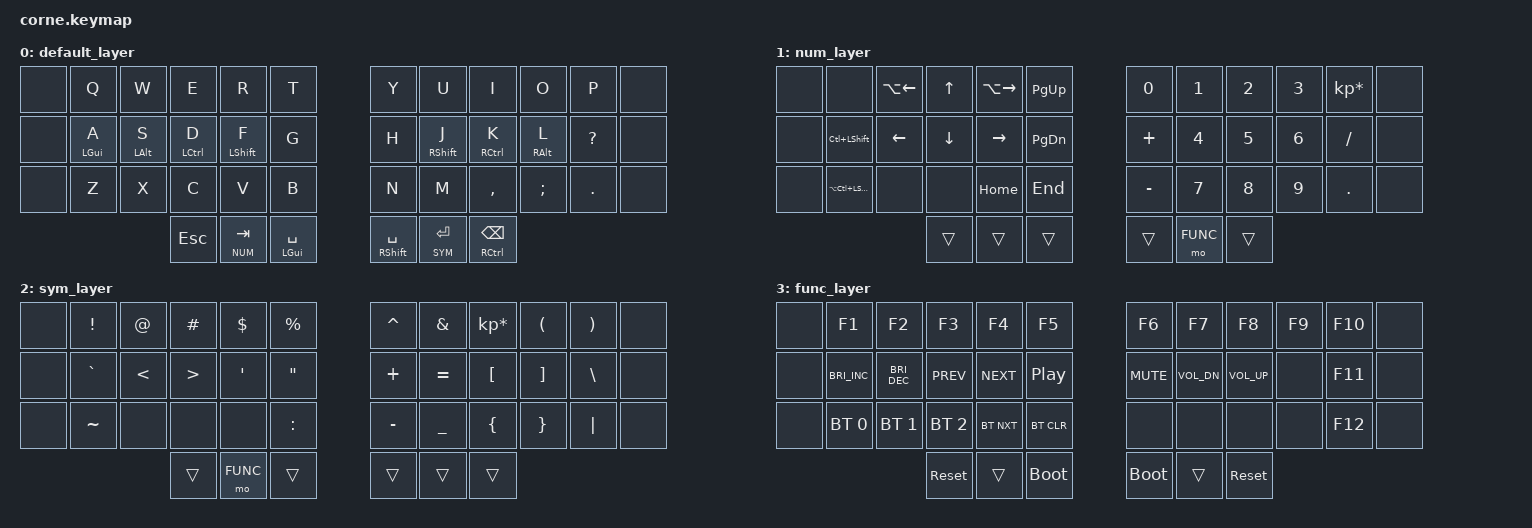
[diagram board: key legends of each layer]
/*
 * Copyright (c) 2020 The ZMK Contributors
 *
 * SPDX-License-Identifier: MIT
 */

#include <behaviors.dtsi>
#include <dt-bindings/zmk/bt.h>
#include <dt-bindings/zmk/keys.h>

// LAYERS

#define DEFAULT 0
#define NUM     1
#define SYM     2
#define FUNC    3

// MACROS

#define SUPER LC(LSHIFT)
#define SUPER2 LA(LC(LSHIFT))

&mt {
    tapping-term-ms = <200>;
    flavor = "tap-preferred";
};

/ {
    behaviors {
        hm: homerow_mods {
            compatible = "zmk,behavior-hold-tap";
            label = "HOMEROW_MODS";
            #binding-cells = <2>;
            tapping-term-ms = <200>;
            quick-tap-ms = <0>;
            flavor = "tap-preferred";
            bindings = <&kp>, <&kp>;
        };
        td0: tap_dance_0 {
            compatible = "zmk,behavior-tap-dance";
            label = "TAP_DANCE_0";
            #binding-cells = <0>;
            tapping-term-ms = <200>;
            bindings = <&hm RGUI SEMI>, <&kp SQT>;
        };
        td1: tap_dance_1 {
            compatible = "zmk,behavior-tap-dance";
            label = "TAP_DANCE_1";
            #binding-cells = <0>;
            tapping-term-ms = <200>;
            bindings = <&mt LCTRL TAB>, <&kp ESC>;
        };
    };

    combos {
        compatible = "zmk,combos";

        combo_cword {
            timeout-ms = <50>;
            key-positions = <16 19>;
            bindings = <&caps_word>;
        };

        combo_vimwq {
            timeout-ms = <50>;
            key-positions = <1 2>;
            bindings = <&vim_quit>;
        };
    };

    macros {
        vim_quit: vim_quit {
            label = "ZM_vim_quit";
            compatible = "zmk,behavior-macro";
            #binding-cells = <0>;
            bindings = <&macro_tap>, <&kp ESC &kp COLON &kp W &kp Q>;
        };
    };

    keymap {
        compatible = "zmk,keymap";

        default_layer {
            bindings = <
&none  &kp Q       &kp W       &kp E        &kp R         &kp T             &kp Y                  &kp U         &kp I                        &kp O       &kp P      &none
&none  &hm LGUI A  &hm LALT S  &hm LCTRL D  &hm LSHIFT F  &kp G             &kp H                  &hm RSHIFT J  &hm RCTRL K                  &hm RALT L  &kp QMARK  &none
&none  &kp Z       &kp X       &kp C        &kp V         &kp B             &kp N                  &kp M         &kp COMMA                    &kp SEMI    &kp DOT    &none
                               &kp ESCAPE   &lt NUM TAB   &mt LGUI SPACE    &mt RIGHT_SHIFT SPACE  &lt SYM RET   &mt RIGHT_CONTROL BACKSPACE
            >;
        };

        num_layer {
            bindings = <
&none  &none       &kp LA(LEFT)  &kp UP    &kp LA(RIGHT)  &kp PG_UP    &kp N0     &kp N1    &kp N2  &kp N3  &kp KP_MULTIPLY  &none
&none  &kp SUPER   &kp LEFT      &kp DOWN  &kp RIGHT      &kp PG_DN    &kp PLUS   &kp N4    &kp N5  &kp N6  &kp SLASH        &none
&none  &kp SUPER2  &none         &none     &kp HOME       &kp END      &kp MINUS  &kp N7    &kp N8  &kp N9  &kp DOT          &none
                                 &trans    &trans         &trans       &trans     &mo FUNC  &trans
            >;
        };

        sym_layer {
            bindings = <
&none  &kp EXCL   &kp AT         &kp HASH          &kp DLLR  &kp PRCNT            &kp CARET  &kp AMPS   &kp KP_MULTIPLY  &kp LPAR  &kp RPAR  &none
&none  &kp GRAVE  &kp LESS_THAN  &kp GREATER_THAN  &kp SQT   &kp DOUBLE_QUOTES    &kp PLUS   &kp EQUAL  &kp LBKT         &kp RBKT  &kp BSLH  &none
&none  &kp TILDE  &none          &none             &none     &kp COLON            &kp MINUS  &kp UNDER  &kp LBRC         &kp RBRC  &kp PIPE  &none
                                 &trans            &mo FUNC  &trans               &trans     &trans     &trans
            >;
        };

        func_layer {
            bindings = <
&none  &kp F1                &kp F2                &kp F3        &kp F4      &kp F5              &kp F6       &kp F7        &kp F8        &kp F9  &kp F10  &none
&none  &kp C_BRIGHTNESS_INC  &kp C_BRIGHTNESS_DEC  &kp C_PREV    &kp C_NEXT  &kp C_PLAY_PAUSE    &kp C_MUTE   &kp C_VOL_DN  &kp C_VOL_UP  &none   &kp F11  &none
&none  &bt BT_SEL 0          &bt BT_SEL 1          &bt BT_SEL 2  &bt BT_NXT  &bt BT_CLR          &none        &none         &none         &none   &kp F12  &none
                                                   &sys_reset    &trans      &bootloader         &bootloader  &trans        &sys_reset
            >;
        };
    };
};
